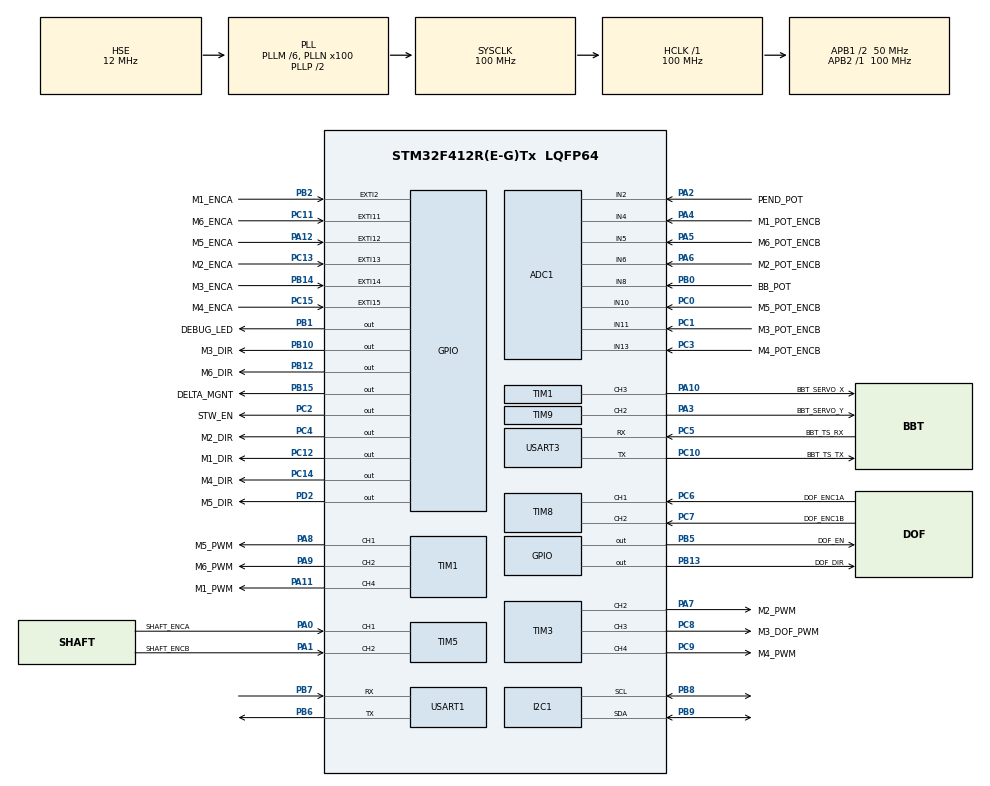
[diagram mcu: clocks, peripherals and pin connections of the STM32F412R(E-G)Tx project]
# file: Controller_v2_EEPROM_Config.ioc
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ADC1.Channel-10\#ChannelRegularConversion=ADC_CHANNEL_2
ADC1.Channel-11\#ChannelRegularConversion=ADC_CHANNEL_VREFINT
ADC1.Channel-3\#ChannelRegularConversion=ADC_CHANNEL_4
ADC1.Channel-4\#ChannelRegularConversion=ADC_CHANNEL_6
ADC1.Channel-5\#ChannelRegularConversion=ADC_CHANNEL_11
ADC1.Channel-6\#ChannelRegularConversion=ADC_CHANNEL_13
ADC1.Channel-7\#ChannelRegularConversion=ADC_CHANNEL_10
ADC1.Channel-8\#ChannelRegularConversion=ADC_CHANNEL_5
ADC1.Channel-9\#ChannelRegularConversion=ADC_CHANNEL_8
ADC1.ContinuousConvMode=ENABLE
ADC1.NbrOfConversion=9
ADC1.NbrOfConversionFlag=1
ADC1.Rank-10\#ChannelRegularConversion=8
ADC1.Rank-11\#ChannelRegularConversion=9
ADC1.Rank-3\#ChannelRegularConversion=1
ADC1.Rank-4\#ChannelRegularConversion=2
ADC1.Rank-5\#ChannelRegularConversion=3
ADC1.Rank-6\#ChannelRegularConversion=4
ADC1.Rank-7\#ChannelRegularConversion=5
ADC1.Rank-8\#ChannelRegularConversion=6
ADC1.Rank-9\#ChannelRegularConversion=7
ADC1.SamplingTime-10\#ChannelRegularConversion=ADC_SAMPLETIME_480CYCLES
ADC1.SamplingTime-11\#ChannelRegularConversion=ADC_SAMPLETIME_480CYCLES
ADC1.SamplingTime-3\#ChannelRegularConversion=ADC_SAMPLETIME_480CYCLES
ADC1.SamplingTime-4\#ChannelRegularConversion=ADC_SAMPLETIME_480CYCLES
ADC1.SamplingTime-5\#ChannelRegularConversion=ADC_SAMPLETIME_480CYCLES
ADC1.SamplingTime-6\#ChannelRegularConversion=ADC_SAMPLETIME_480CYCLES
ADC1.SamplingTime-7\#ChannelRegularConversion=ADC_SAMPLETIME_480CYCLES
ADC1.SamplingTime-8\#ChannelRegularConversion=ADC_SAMPLETIME_480CYCLES
ADC1.SamplingTime-9\#ChannelRegularConversion=ADC_SAMPLETIME_480CYCLES
ADC1.ScanConvMode=ENABLE
ADC1.master=1
Dma.ADC1.0.Direction=DMA_PERIPH_TO_MEMORY
Dma.ADC1.0.FIFOMode=DMA_FIFOMODE_DISABLE
Dma.ADC1.0.Instance=DMA2_Stream0
Dma.ADC1.0.MemDataAlignment=DMA_MDATAALIGN_HALFWORD
Dma.ADC1.0.MemInc=DMA_MINC_ENABLE
Dma.ADC1.0.Mode=DMA_NORMAL
Dma.ADC1.0.PeriphDataAlignment=DMA_PDATAALIGN_HALFWORD
Dma.ADC1.0.PeriphInc=DMA_PINC_DISABLE
Dma.ADC1.0.Priority=DMA_PRIORITY_LOW
Dma.Request0=ADC1
Dma.Request1=USART1_RX
Dma.Request2=USART1_TX
Dma.Request3=USART3_RX
Dma.Request4=USART3_TX
Dma.USART1_RX.1.Direction=DMA_PERIPH_TO_MEMORY
Dma.USART1_RX.1.FIFOMode=DMA_FIFOMODE_DISABLE
Dma.USART1_RX.1.Instance=DMA2_Stream2
Dma.USART1_RX.1.MemDataAlignment=DMA_MDATAALIGN_BYTE
Dma.USART1_RX.1.MemInc=DMA_MINC_ENABLE
Dma.USART1_RX.1.Mode=DMA_CIRCULAR
Dma.USART1_RX.1.PeriphDataAlignment=DMA_PDATAALIGN_BYTE
Dma.USART1_RX.1.PeriphInc=DMA_PINC_DISABLE
Dma.USART1_RX.1.Priority=DMA_PRIORITY_VERY_HIGH
Dma.USART1_TX.2.Direction=DMA_MEMORY_TO_PERIPH
Dma.USART1_TX.2.FIFOMode=DMA_FIFOMODE_DISABLE
Dma.USART1_TX.2.Instance=DMA2_Stream7
Dma.USART1_TX.2.MemDataAlignment=DMA_MDATAALIGN_BYTE
Dma.USART1_TX.2.MemInc=DMA_MINC_ENABLE
Dma.USART1_TX.2.Mode=DMA_NORMAL
Dma.USART1_TX.2.PeriphDataAlignment=DMA_PDATAALIGN_BYTE
Dma.USART1_TX.2.PeriphInc=DMA_PINC_DISABLE
Dma.USART1_TX.2.Priority=DMA_PRIORITY_HIGH
Dma.USART3_RX.3.Direction=DMA_PERIPH_TO_MEMORY
Dma.USART3_RX.3.FIFOMode=DMA_FIFOMODE_DISABLE
Dma.USART3_RX.3.Instance=DMA1_Stream1
Dma.USART3_RX.3.MemDataAlignment=DMA_MDATAALIGN_BYTE
Dma.USART3_RX.3.MemInc=DMA_MINC_ENABLE
Dma.USART3_RX.3.Mode=DMA_NORMAL
Dma.USART3_RX.3.PeriphDataAlignment=DMA_PDATAALIGN_BYTE
Dma.USART3_RX.3.PeriphInc=DMA_PINC_DISABLE
Dma.USART3_RX.3.Priority=DMA_PRIORITY_MEDIUM
Dma.USART3_TX.4.Direction=DMA_MEMORY_TO_PERIPH
Dma.USART3_TX.4.FIFOMode=DMA_FIFOMODE_DISABLE
Dma.USART3_TX.4.Instance=DMA1_Stream3
Dma.USART3_TX.4.MemDataAlignment=DMA_MDATAALIGN_BYTE
Dma.USART3_TX.4.MemInc=DMA_MINC_ENABLE
Dma.USART3_TX.4.Mode=DMA_NORMAL
Dma.USART3_TX.4.PeriphDataAlignment=DMA_PDATAALIGN_BYTE
Dma.USART3_TX.4.PeriphInc=DMA_PINC_DISABLE
Dma.USART3_TX.4.Priority=DMA_PRIORITY_MEDIUM
Mcu.Family=STM32F4
Mcu.Name=STM32F412R(E-G)Tx
Mcu.Package=LQFP64
NVIC.DMA1_Stream1_IRQn=true\:0\:0\:false\:false\:true\:false\:true\:true
NVIC.DMA1_Stream3_IRQn=true\:0\:0\:false\:false\:true\:false\:true\:true
NVIC.DMA2_Stream0_IRQn=true\:0\:0\:false\:false\:true\:false\:true\:true
NVIC.DMA2_Stream2_IRQn=true\:0\:0\:false\:false\:true\:false\:true\:true
NVIC.DMA2_Stream7_IRQn=true\:0\:0\:false\:false\:true\:false\:true\:true
NVIC.PriorityGroup=NVIC_PRIORITYGROUP_4
NVIC.USART1_IRQn=true\:0\:0\:false\:false\:true\:true\:true\:true
NVIC.USART3_IRQn=true\:0\:0\:false\:false\:true\:true\:true\:true
PA0.GPIO_Label=SHAFT_ENCA
PA0.Signal=S_TIM5_CH1
PA1.GPIO_Label=SHAFT_ENCB
PA1.Signal=S_TIM5_CH2
PA10.GPIO_Label=BBT_SERVO_X
PA10.Signal=S_TIM1_CH3
PA11.GPIO_Label=M1_PWM
PA11.Signal=S_TIM1_CH4
PA12.GPIO_Label=M5_ENCA
PA12.Signal=GPXTI12
PA13.Mode=JTAG_5_pins
PA13.Signal=SYS_JTMS-SWDIO
PA14.Mode=JTAG_5_pins
PA14.Signal=SYS_JTCK-SWCLK
PA15.Mode=JTAG_5_pins
PA15.Signal=SYS_JTDI
PA2.GPIO_Label=PEND_POT
PA2.Signal=ADCx_IN2
PA3.GPIO_Label=BBT_SERVO_Y
PA3.Signal=S_TIM9_CH2
PA4.GPIO_Label=M1_POT_ENCB
PA4.Signal=SharedStack_PA4
PA4.Stacked=true
PA5.GPIO_Label=M6_POT_ENCB
PA5.Signal=SharedStack_PA5
PA5.Stacked=true
PA6.GPIO_Label=M2_POT_ENCB
PA6.Signal=SharedStack_PA6
PA6.Stacked=true
PA7.GPIO_Label=M2_PWM
PA7.Signal=S_TIM3_CH2
PA8.GPIO_Label=M5_PWM
PA8.Signal=S_TIM1_CH1
PA9.GPIO_Label=M6_PWM
PA9.Signal=S_TIM1_CH2
PB0.GPIO_Label=BB_POT
PB0.Signal=ADCx_IN8
PB1.GPIO_Label=DEBUG_LED
PB1.Signal=GPIO_Output
PB10.GPIO_Label=M3_DIR
PB10.Signal=GPIO_Output
PB12.GPIO_Label=M6_DIR
PB12.Signal=GPIO_Output
PB13.GPIO_Label=DOF_DIR
PB13.Signal=GPIO_Output
PB14.GPIO_Label=M3_ENCA
PB14.Signal=GPXTI14
PB15.GPIO_Label=DELTA_MGNT
PB15.Signal=GPIO_Output
PB2.GPIO_Label=M1_ENCA
PB2.Signal=GPXTI2
PB3.Mode=JTAG_5_pins
PB3.Signal=SYS_JTDO-SWO
PB4.Mode=JTAG_5_pins
PB4.Signal=SYS_JTRST
PB5.GPIO_Label=DOF_EN
PB5.Signal=GPIO_Output
PB6.Mode=Asynchronous
PB6.Signal=USART1_TX
PB7.Mode=Asynchronous
PB7.Signal=USART1_RX
PB8.Mode=I2C
PB8.Signal=I2C1_SCL
PB9.Mode=I2C
PB9.Signal=I2C1_SDA
PC0.GPIO_Label=M5_POT_ENCB
PC0.Signal=SharedStack_PC0
PC0.Stacked=true
PC1.GPIO_Label=M3_POT_ENCB
PC1.Signal=SharedStack_PC1
PC1.Stacked=true
PC10.GPIO_Label=BBT_TS_TX
PC10.Mode=Asynchronous
PC10.Signal=USART3_TX
PC11.GPIO_Label=M6_ENCA
PC11.Signal=GPXTI11
PC12.GPIO_Label=M1_DIR
PC12.Signal=GPIO_Output
PC13.GPIO_Label=M2_ENCA
PC13.Signal=GPXTI13
PC14-OSC32_IN.GPIO_Label=M4_DIR
PC14-OSC32_IN.Signal=GPIO_Output
PC15-OSC32_OUT.GPIO_Label=M4_ENCA
PC15-OSC32_OUT.Signal=GPXTI15
PC2.GPIO_Label=STW_EN
PC2.Signal=GPIO_Output
PC3.GPIO_Label=M4_POT_ENCB
PC3.Signal=SharedStack_PC3
PC3.Stacked=true
PC4.GPIO_Label=M2_DIR
PC4.Signal=GPIO_Output
PC5.GPIO_Label=BBT_TS_RX
PC5.Mode=Asynchronous
PC5.Signal=USART3_RX
PC6.GPIO_Label=DOF_ENC1A
PC6.Signal=S_TIM8_CH1
PC7.GPIO_Label=DOF_ENC1B
PC7.Signal=S_TIM8_CH2
PC8.GPIO_Label=M3_DOF_PWM
PC8.Signal=S_TIM3_CH3
PC9.GPIO_Label=M4_PWM
PC9.Signal=S_TIM3_CH4
PD2.GPIO_Label=M5_DIR
PD2.Signal=GPIO_Output
PH0\ -\ OSC_IN.Mode=HSE-External-Oscillator
PH0\ -\ OSC_IN.Signal=RCC_OSC_IN
PH1\ -\ OSC_OUT.Mode=HSE-External-Oscillator
PH1\ -\ OSC_OUT.Signal=RCC_OSC_OUT
ProjectManager.HeapSize=0x200
ProjectManager.StackSize=0x400
ProjectManager.TargetToolchain=STM32CubeIDE
RCC.AHBFreq_Value=100000000
RCC.APB1CLKDivider=RCC_HCLK_DIV2
RCC.APB1Freq_Value=50000000
RCC.APB1TimFreq_Value=100000000
RCC.APB2Freq_Value=100000000
RCC.APB2TimFreq_Value=100000000
RCC.CortexFreq_Value=100000000
RCC.HCLKFreq_Value=100000000
RCC.HSE_VALUE=12000000
RCC.PLLM=6
RCC.PLLN=100
RCC.PLLSourceVirtual=RCC_PLLSOURCE_HSE
RCC.SYSCLKFreq_VALUE=100000000
RCC.SYSCLKSource=RCC_SYSCLKSOURCE_PLLCLK
RCC.USBFreq_Value=100000000
RCC.VCOOutputFreq_Value=200000000
SH.ADCx_IN2.0=ADC1_IN2,IN2
SH.ADCx_IN8.0=ADC1_IN8,IN8
SH.S_TIM1_CH1.0=TIM1_CH1,PWM Generation1 CH1
SH.S_TIM1_CH2.0=TIM1_CH2,PWM Generation2 CH2
SH.S_TIM1_CH3.0=TIM1_CH3,PWM Generation3 CH3
SH.S_TIM1_CH4.0=TIM1_CH4,PWM Generation4 CH4
SH.S_TIM3_CH2.0=TIM3_CH2,PWM Generation2 CH2
SH.S_TIM3_CH3.0=TIM3_CH3,PWM Generation3 CH3
SH.S_TIM3_CH4.0=TIM3_CH4,PWM Generation4 CH4
SH.S_TIM5_CH1.0=TIM5_CH1,Encoder_Interface
SH.S_TIM5_CH2.0=TIM5_CH2,Encoder_Interface
SH.S_TIM8_CH1.0=TIM8_CH1,Encoder_Interface
SH.S_TIM8_CH2.0=TIM8_CH2,Encoder_Interface
SH.S_TIM9_CH2.0=TIM9_CH2,PWM Generation2 CH2
SH.SharedStack_PA4.0=GPIO_EXTI4+0
SH.SharedStack_PA4.1=ADC1_IN4,IN4
SH.SharedStack_PA5.0=GPIO_EXTI5+0
SH.SharedStack_PA5.1=ADC1_IN5,IN5
SH.SharedStack_PA6.0=GPIO_EXTI6+0
SH.SharedStack_PA6.1=ADC1_IN6,IN6
SH.SharedStack_PC0.0=GPIO_EXTI0+0
SH.SharedStack_PC0.1=ADC1_IN10,IN10
SH.SharedStack_PC1.0=GPIO_EXTI1+0
SH.SharedStack_PC1.1=ADC1_IN11,IN11
SH.SharedStack_PC3.0=GPIO_EXTI3+0
SH.SharedStack_PC3.1=ADC1_IN13,IN13
TIM1.Channel-PWM\ Generation1\ CH1=TIM_CHANNEL_1
TIM1.Channel-PWM\ Generation2\ CH2=TIM_CHANNEL_2
TIM1.Channel-PWM\ Generation3\ CH3=TIM_CHANNEL_3
TIM1.Channel-PWM\ Generation4\ CH4=TIM_CHANNEL_4
TIM3.Channel-PWM\ Generation2\ CH2=TIM_CHANNEL_2
TIM3.Channel-PWM\ Generation3\ CH3=TIM_CHANNEL_3
TIM3.Channel-PWM\ Generation4\ CH4=TIM_CHANNEL_4
TIM9.Channel-PWM\ Generation2\ CH2=TIM_CHANNEL_2
USART1.VirtualMode=VM_ASYNC
USART3.VirtualMode=VM_ASYNC
VP_ADC1_Vref_Input.Mode=IN-Vrefint
VP_CRC_VS_CRC.Mode=CRC_Activate
board=custom

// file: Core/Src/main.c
/* USER CODE BEGIN Header */
/**
  ******************************************************************************
  * @file           : main.c
  * @brief          : Main program body
  ******************************************************************************
  * @attention
  *
  * Copyright (c) 2023 STMicroelectronics.
  * All rights reserved.
  *
  * This software is licensed under terms that can be found in the LICENSE file
  * in the root directory of this software component.
  * If no LICENSE file comes with this software, it is provided AS-IS.
  *
  ******************************************************************************
  */
/* USER CODE END Header */
#include "main.h"
#include "adc.h"
#include "crc.h"
#include "dma.h"
#include "i2c.h"
#include "tim.h"
#include "usart.h"
#include "gpio.h"

/* USER CODE BEGIN Includes */
#include "m24c16.h"
#include "string.h"
#include "config.h"
#include "utils.h"
/* USER CODE END Includes */

/* USER CODE BEGIN PV */
extern union receiveMap {
	tConfig configStruct;
	uint8_t arr[sizeof(tConfig)];
} raw;
/* USER CODE END PV */

void SystemClock_Config(void);

int main(void)
{

  /* MCU Configuration--------------------------------------------------------*/

  /* Reset of all peripherals, Initializes the Flash interface and the Systick. */
  HAL_Init();

  /* Configure the system clock */
  SystemClock_Config();

  /* Initialize all configured peripherals */
  MX_GPIO_Init();
  MX_DMA_Init();
  MX_USART1_UART_Init();
  MX_USART3_UART_Init();
  MX_I2C1_Init();
  MX_TIM1_Init();
  MX_TIM3_Init();
  MX_ADC1_Init();
  MX_TIM5_Init();
  MX_TIM8_Init();
  MX_TIM9_Init();
  MX_CRC_Init();
  /* USER CODE BEGIN 2 */

	uint8_t wdata[EEPROM_SIZE];
	uint8_t rdata[EEPROM_SIZE];

	for (uint16_t i = 0; i < sizeof(wdata); i++) {
		wdata[i] = i & 0xFF;
	}

	tConfig conf;
	defaultConfig(&conf);
	conf.R1 = 0; // Linearizer disabled. MUST CONFIGURE ACCORDING TO UNDERLYING BOARD CONFIG if linearizer is required.
	conf.R2 = 0; // Linearizer disabled. MUST CONFIGURE ACCORDING TO UNDERLYING BOARD CONFIG if linearizer is required.
#warning "Check real resistor values for Controller v1.1 before programming"
	conf.hw_revision = 0x00020000; //v1.2: 0x00010200
	conf.sw_revision = 0x00000000;

	raw.configStruct = conf;

	raw.configStruct.crc = CRC_Calculate(raw.arr, sizeof(raw.arr) - sizeof(uint32_t));

	EEPROMWrite(0, sizeof(raw.arr), raw.arr, 3);
	HAL_Delay(5);
	EEPROMRead(0, sizeof(rdata), rdata, 3);

  /* USER CODE END 2 */

  /* Infinite loop */
  /* USER CODE BEGIN WHILE */
  while (1)		{

		int compare_result = memcmp(raw.arr, rdata, sizeof(raw.arr));
		if (compare_result == 0) {
			HAL_GPIO_TogglePin(DEBUG_LED_GPIO_Port, DEBUG_LED_Pin);
			HAL_Delay(20);
		}
		else {
			HAL_GPIO_TogglePin(DEBUG_LED_GPIO_Port, DEBUG_LED_Pin);
			HAL_Delay(200);
		}

    /* USER CODE END WHILE */

  }
}

void SystemClock_Config(void)
{
  RCC_OscInitTypeDef RCC_OscInitStruct = {0};
  RCC_ClkInitTypeDef RCC_ClkInitStruct = {0};

  /** Configure the main internal regulator output voltage
  */
  __HAL_RCC_PWR_CLK_ENABLE();
  __HAL_PWR_VOLTAGESCALING_CONFIG(PWR_REGULATOR_VOLTAGE_SCALE1);

  /** Initializes the RCC Oscillators according to the specified parameters
  * in the RCC_OscInitTypeDef structure.
  */
  RCC_OscInitStruct.OscillatorType = RCC_OSCILLATORTYPE_HSE;
  RCC_OscInitStruct.HSEState = RCC_HSE_ON;
  RCC_OscInitStruct.PLL.PLLState = RCC_PLL_ON;
  RCC_OscInitStruct.PLL.PLLSource = RCC_PLLSOURCE_HSE;
  RCC_OscInitStruct.PLL.PLLM = 6;
  RCC_OscInitStruct.PLL.PLLN = 100;
  RCC_OscInitStruct.PLL.PLLP = RCC_PLLP_DIV2;
  RCC_OscInitStruct.PLL.PLLQ = 2;
  RCC_OscInitStruct.PLL.PLLR = 2;
  if (HAL_RCC_OscConfig(&RCC_OscInitStruct) != HAL_OK)
  {
    Error_Handler();
  }

  /** Initializes the CPU, AHB and APB buses clocks
  */
  RCC_ClkInitStruct.ClockType = RCC_CLOCKTYPE_HCLK|RCC_CLOCKTYPE_SYSCLK
                              |RCC_CLOCKTYPE_PCLK1|RCC_CLOCKTYPE_PCLK2;
  RCC_ClkInitStruct.SYSCLKSource = RCC_SYSCLKSOURCE_PLLCLK;
  RCC_ClkInitStruct.AHBCLKDivider = RCC_SYSCLK_DIV1;
  RCC_ClkInitStruct.APB1CLKDivider = RCC_HCLK_DIV2;
  RCC_ClkInitStruct.APB2CLKDivider = RCC_HCLK_DIV1;

  if (HAL_RCC_ClockConfig(&RCC_ClkInitStruct, FLASH_LATENCY_3) != HAL_OK)
  {
    Error_Handler();
  }
}

void Error_Handler(void)
{
  __disable_irq();
  while (1)
  {
  }
}
